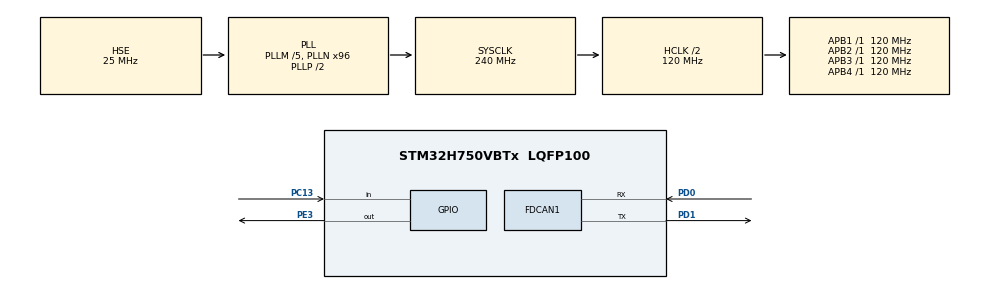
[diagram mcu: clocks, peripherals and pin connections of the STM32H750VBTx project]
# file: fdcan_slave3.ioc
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FDCAN1.AutoRetransmission=ENABLE
FDCAN1.CalculateBaudRateNominal=500000
FDCAN1.CalculateTimeBitNominal=2000
FDCAN1.CalculateTimeQuantumNominal=400.0
FDCAN1.DataPrescaler=25
FDCAN1.DataTimeSeg1=2
FDCAN1.FrameFormat=FDCAN_FRAME_FD_NO_BRS
FDCAN1.NominalPrescaler=20
FDCAN1.NominalSyncJumpWidth=13
FDCAN1.RxFifo0ElmtSize=FDCAN_DATA_BYTES_12
FDCAN1.RxFifo0ElmtsNbr=1
FDCAN1.StdFiltersNbr=1
FDCAN1.TxElmtSize=FDCAN_DATA_BYTES_12
FDCAN1.TxFifoQueueElmtsNbr=1
Mcu.Family=STM32H7
Mcu.Name=STM32H750VBTx
Mcu.Package=LQFP100
NVIC.PriorityGroup=NVIC_PRIORITYGROUP_4
PA13\ (JTMS/SWDIO).Mode=Serial_Wire
PA13\ (JTMS/SWDIO).Signal=DEBUG_JTMS-SWDIO
PA14\ (JTCK/SWCLK).Mode=Serial_Wire
PA14\ (JTCK/SWCLK).Signal=DEBUG_JTCK-SWCLK
PC13.GPIO_PuPd=GPIO_PULLDOWN
PC13.Signal=GPIO_Input
PD0.Mode=FDCAN_Activate
PD0.Signal=FDCAN1_RX
PD1.Mode=FDCAN_Activate
PD1.Signal=FDCAN1_TX
PE3.GPIO_Speed=GPIO_SPEED_FREQ_VERY_HIGH
PE3.Signal=GPIO_Output
PH0-OSC_IN\ (PH0).Mode=HSE-External-Oscillator
PH0-OSC_IN\ (PH0).Signal=RCC_OSC_IN
PH1-OSC_OUT\ (PH1).Mode=HSE-External-Oscillator
PH1-OSC_OUT\ (PH1).Signal=RCC_OSC_OUT
ProjectManager.HeapSize=0x200
ProjectManager.StackSize=0x400
ProjectManager.TargetToolchain=STM32CubeIDE
RCC.ADCFreq_Value=100000000
RCC.APB1Freq_Value=120000000
RCC.APB2Freq_Value=120000000
RCC.APB3Freq_Value=120000000
RCC.APB4Freq_Value=120000000
RCC.CortexFreq_Value=240000000
RCC.DIVM1=5
RCC.DIVM2=2
RCC.DIVN1=96
RCC.DIVN2=16
RCC.DIVQ2=4
RCC.FDCANCLockSelection=RCC_FDCANCLKSOURCE_PLL2
RCC.HCLKFreq_Value=120000000
RCC.HPRE=RCC_HCLK_DIV2
RCC.PLLSourceVirtual=RCC_PLLSOURCE_HSE
RCC.SYSCLKFreq_VALUE=240000000
RCC.SYSCLKSource=RCC_SYSCLKSOURCE_PLLCLK
RCC.USBFreq_Value=240000000
board=custom

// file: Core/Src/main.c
/* USER CODE BEGIN Header */
/**
  ******************************************************************************
  * @file           : main.c
  * @brief          : Main program body
  ******************************************************************************
  * @attention
  *
  * Copyright (c) 2023 STMicroelectronics.
  * All rights reserved.
  *
  * This software is licensed under terms that can be found in the LICENSE file
  * in the root directory of this software component.
  * If no LICENSE file comes with this software, it is provided AS-IS.
  *
  ******************************************************************************
  */
/* USER CODE END Header */
#include "main.h"

/* USER CODE BEGIN Includes */
#include "stdio.h"
/* USER CODE END Includes */

/* USER CODE BEGIN PTD */
FDCAN_TxHeaderTypeDef   TxHeader1;
FDCAN_RxHeaderTypeDef   RxHeader1;
uint8_t               TxData1[12];
uint8_t               RxData1[12];
int indx = 0;
int node_id = 18;
/* USER CODE END PTD */

FDCAN_HandleTypeDef hfdcan1;

/* USER CODE BEGIN PV */
void HAL_FDCAN_RxFifo0Callback(FDCAN_HandleTypeDef *hfdcan, uint32_t RxFifo0ITs)
{
  if((RxFifo0ITs & FDCAN_IT_RX_FIFO0_NEW_MESSAGE) != RESET)
  {
    /* Retreive Rx messages from RX FIFO0 */
	 // HAL_GPIO_WritePin(GPIOE, GPIO_PIN_3, GPIO_PIN_SET);

    if (HAL_FDCAN_GetRxMessage(hfdcan, FDCAN_RX_FIFO0, &RxHeader1, RxData1) != HAL_OK)
    {
    /* Reception Error */
    Error_Handler();
	 // HAL_GPIO_WritePin(GPIOE, GPIO_PIN_3, GPIO_PIN_RESET);

    }

    if (HAL_FDCAN_ActivateNotification(hfdcan, FDCAN_IT_RX_FIFO0_NEW_MESSAGE, 0) != HAL_OK)
    {
      /* Notification Error */
      Error_Handler();
    }
  }
}
/* USER CODE END PV */

void SystemClock_Config(void);
static void MX_GPIO_Init(void);
static void MX_FDCAN1_Init(void);

int main(void)
{

  /* MCU Configuration--------------------------------------------------------*/

  /* Reset of all peripherals, Initializes the Flash interface and the Systick. */
  HAL_Init();

  /* Configure the system clock */
  SystemClock_Config();

  /* Initialize all configured peripherals */
  MX_GPIO_Init();
  MX_FDCAN1_Init();
  /* USER CODE BEGIN 2 */
  if(HAL_FDCAN_Start(&hfdcan1)!= HAL_OK)
      {
    	  Error_Handler();
      }
     if (HAL_FDCAN_ActivateNotification(&hfdcan1, FDCAN_IT_RX_FIFO0_NEW_MESSAGE, 0) != HAL_OK)
       {
         /* Notification Error */
         Error_Handler();
       }

     TxHeader1.Identifier = node_id;						//change node id by dip switch
     TxHeader1.IdType = FDCAN_STANDARD_ID;
     TxHeader1.TxFrameType = FDCAN_DATA_FRAME;
     TxHeader1.DataLength = FDCAN_DLC_BYTES_12;
     TxHeader1.ErrorStateIndicator = FDCAN_ESI_ACTIVE;
     TxHeader1.BitRateSwitch = FDCAN_BRS_OFF;
     TxHeader1.FDFormat = FDCAN_FD_CAN;
     TxHeader1.TxEventFifoControl = FDCAN_NO_TX_EVENTS;
     TxHeader1.MessageMarker = 0;
  /* USER CODE END 2 */

  /* Infinite loop */
  while (1)
  {
	  if(HAL_GPIO_ReadPin(GPIOC, GPIO_PIN_13)== GPIO_PIN_SET){
	  	  	  sprintf ((char *)TxData1, "node");
	  	  	  HAL_GPIO_WritePin(GPIOE, GPIO_PIN_3, GPIO_PIN_SET);
	  		  HAL_Delay(10);

	  	    }
	  	    else
	  	    {
	  		  	  sprintf ((char *)TxData1, "");

	  	  	}
	  	  HAL_Delay(1200);
	  	  if (HAL_FDCAN_AddMessageToTxFifoQ(&hfdcan1, &TxHeader1, TxData1)!= HAL_OK)
	  	  {
	  	   Error_Handler();
	  	  }
  }
}

void SystemClock_Config(void)
{
  RCC_OscInitTypeDef RCC_OscInitStruct = {0};
  RCC_ClkInitTypeDef RCC_ClkInitStruct = {0};

  /** Supply configuration update enable
  */
  HAL_PWREx_ConfigSupply(PWR_LDO_SUPPLY);

  /** Configure the main internal regulator output voltage
  */
  __HAL_PWR_VOLTAGESCALING_CONFIG(PWR_REGULATOR_VOLTAGE_SCALE2);

  while(!__HAL_PWR_GET_FLAG(PWR_FLAG_VOSRDY)) {}

  /** Initializes the RCC Oscillators according to the specified parameters
  * in the RCC_OscInitTypeDef structure.
  */
  RCC_OscInitStruct.OscillatorType = RCC_OSCILLATORTYPE_HSE;
  RCC_OscInitStruct.HSEState = RCC_HSE_ON;
  RCC_OscInitStruct.PLL.PLLState = RCC_PLL_ON;
  RCC_OscInitStruct.PLL.PLLSource = RCC_PLLSOURCE_HSE;
  RCC_OscInitStruct.PLL.PLLM = 5;
  RCC_OscInitStruct.PLL.PLLN = 96;
  RCC_OscInitStruct.PLL.PLLP = 2;
  RCC_OscInitStruct.PLL.PLLQ = 2;
  RCC_OscInitStruct.PLL.PLLR = 2;
  RCC_OscInitStruct.PLL.PLLRGE = RCC_PLL1VCIRANGE_2;
  RCC_OscInitStruct.PLL.PLLVCOSEL = RCC_PLL1VCOWIDE;
  RCC_OscInitStruct.PLL.PLLFRACN = 0;
  if (HAL_RCC_OscConfig(&RCC_OscInitStruct) != HAL_OK)
  {
    Error_Handler();
  }

  /** Initializes the CPU, AHB and APB buses clocks
  */
  RCC_ClkInitStruct.ClockType = RCC_CLOCKTYPE_HCLK|RCC_CLOCKTYPE_SYSCLK
                              |RCC_CLOCKTYPE_PCLK1|RCC_CLOCKTYPE_PCLK2
                              |RCC_CLOCKTYPE_D3PCLK1|RCC_CLOCKTYPE_D1PCLK1;
  RCC_ClkInitStruct.SYSCLKSource = RCC_SYSCLKSOURCE_PLLCLK;
  RCC_ClkInitStruct.SYSCLKDivider = RCC_SYSCLK_DIV1;
  RCC_ClkInitStruct.AHBCLKDivider = RCC_HCLK_DIV2;
  RCC_ClkInitStruct.APB3CLKDivider = RCC_APB3_DIV1;
  RCC_ClkInitStruct.APB1CLKDivider = RCC_APB1_DIV1;
  RCC_ClkInitStruct.APB2CLKDivider = RCC_APB2_DIV1;
  RCC_ClkInitStruct.APB4CLKDivider = RCC_APB4_DIV1;

  if (HAL_RCC_ClockConfig(&RCC_ClkInitStruct, FLASH_LATENCY_2) != HAL_OK)
  {
    Error_Handler();
  }
}

static void MX_FDCAN1_Init(void)
{

  hfdcan1.Instance = FDCAN1;
  hfdcan1.Init.FrameFormat = FDCAN_FRAME_FD_NO_BRS;
  hfdcan1.Init.Mode = FDCAN_MODE_NORMAL;
  hfdcan1.Init.AutoRetransmission = ENABLE;
  hfdcan1.Init.TransmitPause = DISABLE;
  hfdcan1.Init.ProtocolException = DISABLE;
  hfdcan1.Init.NominalPrescaler = 20;
  hfdcan1.Init.NominalSyncJumpWidth = 13;
  hfdcan1.Init.NominalTimeSeg1 = 2;
  hfdcan1.Init.NominalTimeSeg2 = 2;
  hfdcan1.Init.DataPrescaler = 25;
  hfdcan1.Init.DataSyncJumpWidth = 1;
  hfdcan1.Init.DataTimeSeg1 = 2;
  hfdcan1.Init.DataTimeSeg2 = 1;
  hfdcan1.Init.MessageRAMOffset = 0;
  hfdcan1.Init.StdFiltersNbr = 1;
  hfdcan1.Init.ExtFiltersNbr = 0;
  hfdcan1.Init.RxFifo0ElmtsNbr = 1;
  hfdcan1.Init.RxFifo0ElmtSize = FDCAN_DATA_BYTES_12;
  hfdcan1.Init.RxFifo1ElmtsNbr = 0;
  hfdcan1.Init.RxFifo1ElmtSize = FDCAN_DATA_BYTES_8;
  hfdcan1.Init.RxBuffersNbr = 0;
  hfdcan1.Init.RxBufferSize = FDCAN_DATA_BYTES_8;
  hfdcan1.Init.TxEventsNbr = 0;
  hfdcan1.Init.TxBuffersNbr = 0;
  hfdcan1.Init.TxFifoQueueElmtsNbr = 1;
  hfdcan1.Init.TxFifoQueueMode = FDCAN_TX_FIFO_OPERATION;
  hfdcan1.Init.TxElmtSize = FDCAN_DATA_BYTES_12;
  if (HAL_FDCAN_Init(&hfdcan1) != HAL_OK)
  {
    Error_Handler();
  }

}

static void MX_GPIO_Init(void)
{
  GPIO_InitTypeDef GPIO_InitStruct = {0};

  /* GPIO Ports Clock Enable */
  __HAL_RCC_GPIOE_CLK_ENABLE();
  __HAL_RCC_GPIOC_CLK_ENABLE();
  __HAL_RCC_GPIOH_CLK_ENABLE();
  __HAL_RCC_GPIOA_CLK_ENABLE();
  __HAL_RCC_GPIOD_CLK_ENABLE();

  /*Configure GPIO pin Output Level */
  HAL_GPIO_WritePin(GPIOE, GPIO_PIN_3, GPIO_PIN_RESET);

  /*Configure GPIO pin : PE3 */
  GPIO_InitStruct.Pin = GPIO_PIN_3;
  GPIO_InitStruct.Mode = GPIO_MODE_OUTPUT_PP;
  GPIO_InitStruct.Pull = GPIO_NOPULL;
  GPIO_InitStruct.Speed = GPIO_SPEED_FREQ_VERY_HIGH;
  HAL_GPIO_Init(GPIOE, &GPIO_InitStruct);

  /*Configure GPIO pin : PC13 */
  GPIO_InitStruct.Pin = GPIO_PIN_13;
  GPIO_InitStruct.Mode = GPIO_MODE_INPUT;
  GPIO_InitStruct.Pull = GPIO_PULLDOWN;
  HAL_GPIO_Init(GPIOC, &GPIO_InitStruct);

}

void Error_Handler(void)
{
  __disable_irq();
  while (1)
  {
  }
}
